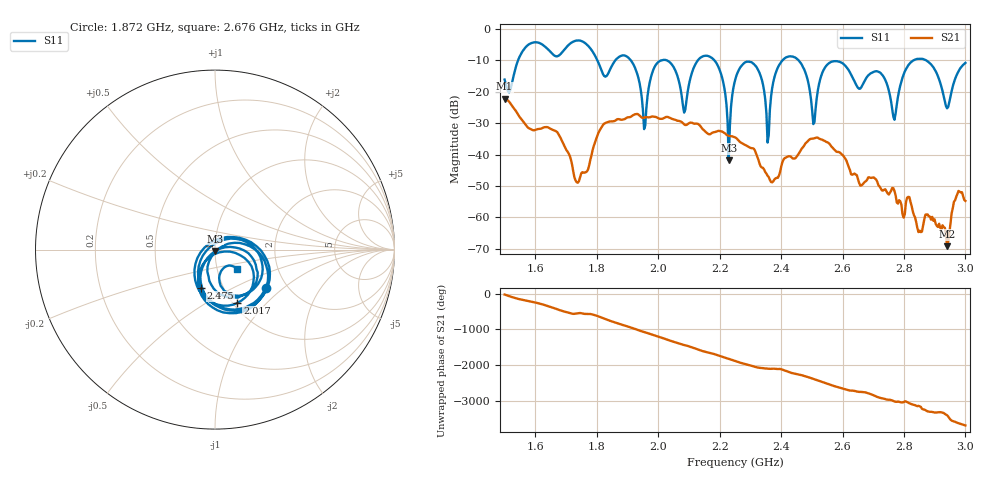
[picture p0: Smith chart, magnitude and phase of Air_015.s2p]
# HZ S RI R 50
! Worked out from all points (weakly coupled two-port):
!   404 points, 1.5 GHz to 3 GHz, reference 50 ohm
!   highest |S21| = -22.17 dB at 1.5 GHz (marker M1); lowest = -69.2 dB at 2.94 GHz (marker M2)
!   lowest |S11| = -41.8 dB at 2.23 GHz (marker M3), VSWR 1.02, Z = 50.1 - j0.813 ohm
!   |S11| at or under -10 dB: 2.183 GHz to 2.404 GHz (221.3 MHz wide, 9.65 % of centre); 2.457 GHz to 2.831 GHz (373.5 MHz wide, 14.1 % of centre); 2.872 GHz to end of sweep (the widest 3 of 7)
!   S12 and S22 are empty: the file has one direction only
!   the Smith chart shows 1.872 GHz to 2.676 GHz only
!   S11 on the Smith chart (normalised r, x): 1.872 GHz: 1.57, -0.78; 2.017 GHz: 1.05, -0.70; 2.475 GHz: 0.78, -0.35; 2.676 GHz: 1.24, -0.28
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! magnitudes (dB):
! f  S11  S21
! 1.5 GHz  -16.1  -22.2
! 1.753 GHz  -4.0  -45.6
! 1.872 GHz  -8.9  -28.7
! 1.954 GHz  -31.9  -28.2
! 2.002 GHz  -10.4  -28.5
! 2.017 GHz  -9.8  -28.4
! 2.084 GHz  -26.6  -30.3
! 2.177 GHz  -9.4  -33.0
! 2.23 GHz  -41.8  -34.0
! 2.252 GHz  -15.7  -34.6
! 2.315 GHz  -11.5  -38.8
! 2.356 GHz  -36.2  -46.7
! 2.401 GHz  -10.5  -43.7
! 2.475 GHz  -12.8  -37.1
! 2.501 GHz  -26.1  -34.9
! 2.561 GHz  -10.6  -37.0
! 2.676 GHz  -15.8  -48.5
! 2.751 GHz  -19.6  -52.7
! 2.769 GHz  -28.9  -51.6
! 2.862 GHz  -9.6  -62.5
! 2.94 GHz  -25.3  -69.2
! 3 GHz  -10.8  -54.7
